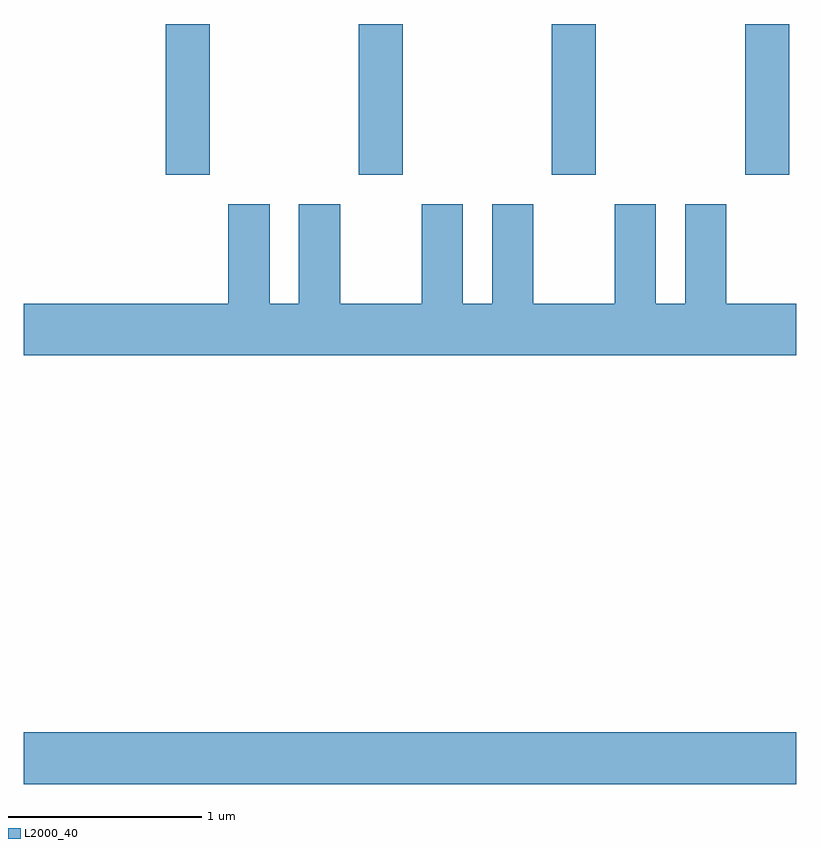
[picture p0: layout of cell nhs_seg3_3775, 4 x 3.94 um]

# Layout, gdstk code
import gdstk
lib = gdstk.Library(unit=1e-6, precision=1e-09)
def R(c, l, rs):  # rectangles x0, y0, x1, y1
    for r in rs: c.add(gdstk.rectangle(r[:2], r[2:], *l))
def A(c, l, x, y, w, h, nx, ny, dx, dy):  # array of equal rectangles
    R(c, l, [(x+i*dx, y+j*dy, x+i*dx+w, y+j*dy+h) for i in range(nx) for j in range(ny)])
def P(c, l, *ps):  # polygons
    for p in ps: c.add(gdstk.Polygon(p, *l))
L2000_40 = (2000, 40)

nhs_seg3_3775 = lib.new_cell('nhs_seg3_3775')
A(nhs_seg3_3775, L2000_40, 296.346, 1189.111, 0.228, 0.781, 4, 1, 1, 0)
R(nhs_seg3_3775, L2000_40, [(295.611,1185.956,299.611,1186.224)])
P(nhs_seg3_3775, L2000_40, [(299.611,1188.444),(299.249,1188.444),(299.249,1188.959),(299.036,1188.959),(299.036,1188.444),(298.884,1188.444),(298.884,1188.959),(298.671,1188.959),(298.671,1188.444),(298.249,1188.444),(298.249,1188.959),(298.036,1188.959),(298.036,1188.444),(297.884,1188.444),(297.884,1188.959),(297.671,1188.959),(297.671,1188.444),(297.249,1188.444),(297.249,1188.959),(297.036,1188.959),(297.036,1188.444),(296.884,1188.444),(296.884,1188.959),(296.671,1188.959),(296.671,1188.444),(295.611,1188.444),(295.611,1188.176),(299.611,1188.176)])

lib.write_gds('nhs_seg3_3775.gds')
